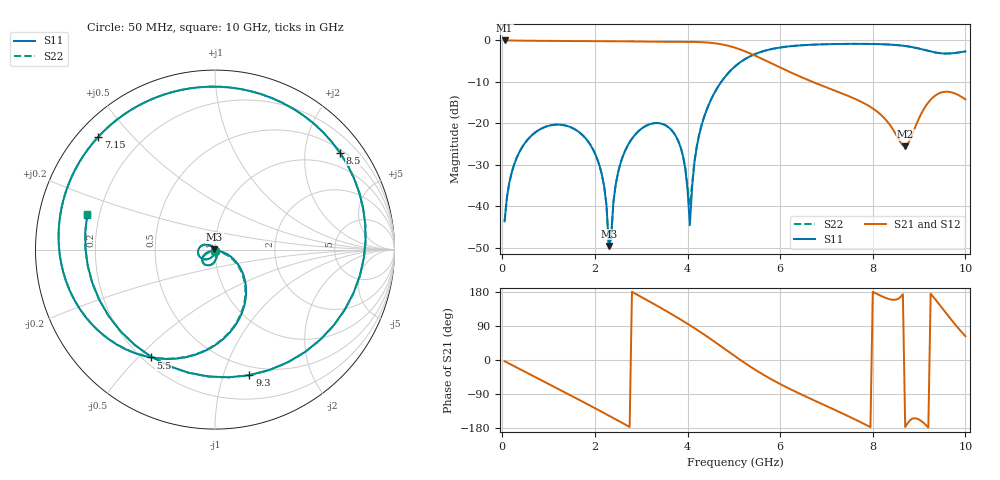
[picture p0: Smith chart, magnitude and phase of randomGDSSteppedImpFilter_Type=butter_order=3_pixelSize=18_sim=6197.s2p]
! freq	dB(S11)	phase(S11)	dB(S12)	phase(S12)
!  dB(S21)	phase(S21)	dB(S22)	phase(S22)
!S-par simulation data
#  GHz  S  DB  R 50
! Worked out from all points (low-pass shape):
!   200 points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, 50 MHz to 10 GHz, reference 50 ohm
!   highest |S21| = -0.01 dB at 50 MHz (marker M1); lowest = -25.6 dB at 8.7 GHz (marker M2)
!   |S21| within 3 dB of the highest: start of sweep to 5.323 GHz
!   lowest |S11| = -49.6 dB at 2.3 GHz (marker M3), VSWR 1.01, Z = 49.7 + j0.173 ohm
!   |S11| at or under -10 dB: start of sweep to 4.73 GHz
!   |S22| runs from -49.7 to -0.8 dB; largest |S21 - S12| = 0
!   S11 on the Smith chart (normalised r, x): 50 MHz: 1.00, -0.01; 5.5 GHz: 0.23, -0.54; 7.15 GHz: 0.06, +0.40; 8.5 GHz: 0.58, +2.81; 9.3 GHz: 0.41, -1.22; 10 GHz: 0.15, +0.13
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0.05  -43.68 -90.0  -0.01 -3.2  -0.01 -3.2  -43.68 -90.0
0.25  -30.15 -105.3  -0.03 -15.9  -0.03 -15.9  -30.15 -105.3
0.6  -23.31 -128.3  -0.07 -38.0  -0.07 -38.0  -23.31 -128.4
1.75  -23.05 158.9  -0.16 -110.9  -0.16 -110.9  -23.05 158.1
2.15  -32.40 134.3  -0.17 -136.9  -0.17 -136.9  -32.39 131.0
2.3  -49.64 148.2  -0.18 -146.7  -0.18 -146.7  -49.68 99.8
2.65  -26.70 -81.6  -0.22 -170.0  -0.22 -170.0  -26.70 -79.1
3.4  -20.01 -130.7  -0.32 139.1  -0.32 139.1  -20.01 -128.9
3.85  -25.79 -158.9  -0.34 106.9  -0.34 106.9  -25.73 -154.4
4.05  -44.62 -89.8  -0.35 91.8  -0.35 91.8  -39.75 -88.6
4.15  -29.42 -18.0  -0.36 84.0  -0.36 84.0  -29.08 -25.4
4.3  -20.63 -23.5  -0.42 72.0  -0.42 72.0  -20.56 -26.5
5.05  -6.04 -84.5  -1.85 7.8  -1.85 7.8  -6.03 -85.1
5.5  -3.10 -120.9  -3.88 -28.7  -3.88 -28.7  -3.10 -121.3
6.7  -1.03 162.0  -10.00 -104.7  -10.00 -104.7  -1.02 161.8
7.15  -0.87 136.1  -11.99 -129.9  -11.99 -129.9  -0.87 135.8
8.35  -0.99 52.3  -20.10 160.9  -20.10 160.9  -0.99 51.8
8.5  -1.10 37.8  -22.68 159.4  -22.68 159.4  -1.10 37.3
8.7  -1.34 15.8  -25.58 -176.9  -25.58 -176.9  -1.34 15.2
9.3  -2.79 -74.7  -13.76 167.6  -13.76 167.6  -2.79 -75.5
9.7  -3.12 -147.7  -12.54 105.6  -12.54 105.6  -3.11 -148.4
10  -2.65 165.0  -14.23 62.8  -14.23 62.8  -2.64 164.6
